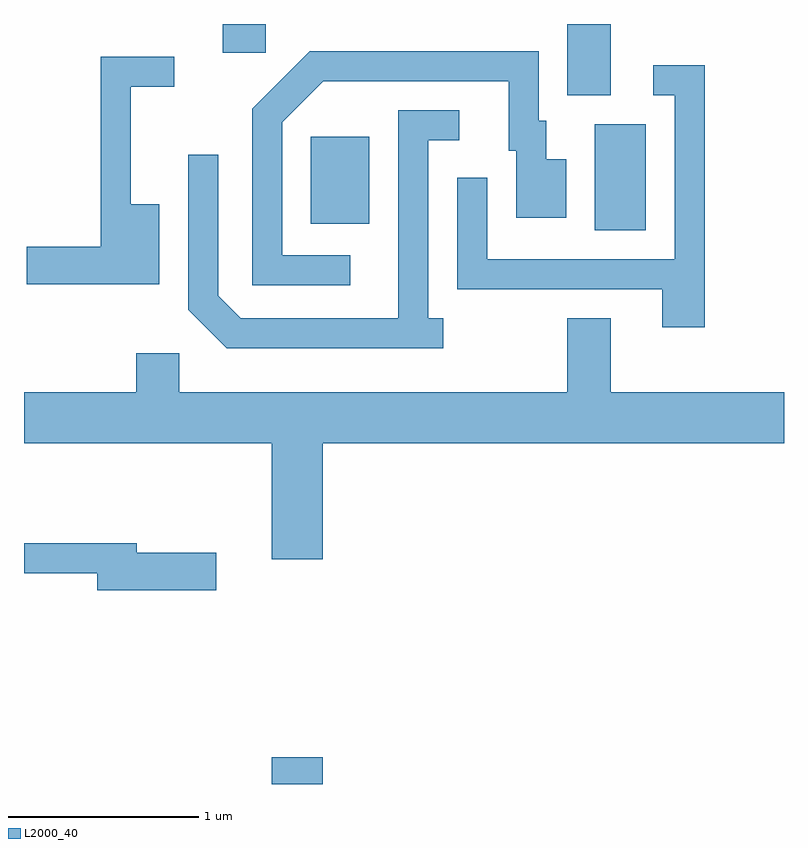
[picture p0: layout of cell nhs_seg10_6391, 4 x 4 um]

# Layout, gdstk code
import gdstk
lib = gdstk.Library(unit=1e-6, precision=1e-09)
def R(c, l, rs):  # rectangles x0, y0, x1, y1
    for r in rs: c.add(gdstk.rectangle(r[:2], r[2:], *l))
def P(c, l, *ps):  # polygons
    for p in ps: c.add(gdstk.Polygon(p, *l))
L2000_40 = (2000, 40)

nhs_seg10_6391 = lib.new_cell('nhs_seg10_6391')
R(nhs_seg10_6391, L2000_40, [(374.916,2156.522,375.184,2156.664), (376.616,2159.436,376.884,2159.994), (375.121,2159.471,375.429,2159.929), (376.471,2160.146,376.699,2160.522), (374.656,2160.371,374.884,2160.522)])
P(nhs_seg10_6391, L2000_40, [(375.328,2159.304),(374.969,2159.304),(374.969,2160.004),(375.187,2160.221),(376.161,2160.221),(376.161,2159.856),(376.201,2159.856),(376.201,2159.501),(376.464,2159.501),(376.464,2159.809),(376.359,2159.809),(376.359,2160.014),(376.319,2160.014),(376.319,2160.379),(375.114,2160.379),(374.811,2160.077),(374.811,2159.146),(375.328,2159.146)],
  [(374.324,2159.574),(374.174,2159.574),(374.174,2160.191),(374.403,2160.191),(374.403,2160.349),(374.016,2160.349),(374.016,2159.349),(373.626,2159.349),(373.626,2159.151),(374.324,2159.151)],
  [(377.194,2160.304),(376.923,2160.304),(376.923,2160.146),(377.036,2160.146),(377.036,2159.284),(376.049,2159.284),(376.049,2159.713),(375.891,2159.713),(375.891,2159.126),(376.971,2159.126),(376.971,2158.926),(377.194,2158.926)],
  [(375.818,2158.974),(375.739,2158.974),(375.739,2159.911),(375.903,2159.911),(375.903,2160.069),(375.581,2160.069),(375.581,2158.974),(374.752,2158.974),(374.634,2159.092),(374.634,2159.833),(374.476,2159.833),(374.476,2159.019),(374.679,2158.816),(375.818,2158.816)],
  [(375.184,2158.316),(377.611,2158.316),(377.611,2158.584),(376.699,2158.584),(376.699,2158.974),(376.471,2158.974),(376.471,2158.584),(374.429,2158.584),(374.429,2158.789),(374.201,2158.789),(374.201,2158.584),(373.611,2158.584),(373.611,2158.316),(374.916,2158.316),(374.916,2157.706),(375.184,2157.706)],
  [(374.624,2157.739),(374.204,2157.739),(374.204,2157.789),(373.611,2157.789),(373.611,2157.631),(373.996,2157.631),(373.996,2157.541),(374.624,2157.541)])

lib.write_gds('nhs_seg10_6391.gds')
